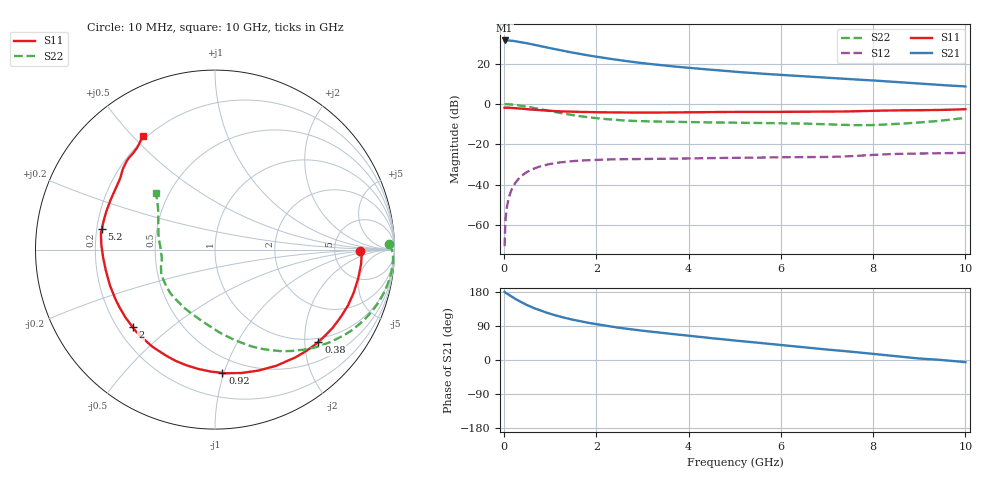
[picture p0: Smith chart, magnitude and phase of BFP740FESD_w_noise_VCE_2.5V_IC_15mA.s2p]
! Infineon Technologies  Discrete & RF Semiconductors
! BFP740FESD
! VCE =  2.5 V,  IC =  15 mA
! Common Emitter S-Parameters:  Jan 2016
# GHz  S  MA  R  50
!  f  S11  S21  S12  S22
! GHz  MAG  ANG  MAG  ANG  MAG  ANG  MAG  ANG
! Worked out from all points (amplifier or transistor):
!   233 points, 10 MHz to 10 GHz, reference 50 ohm
!   highest |S21| = 31.6 dB at 10 MHz (marker M1)
!   |S21| within 3 dB of that: start of sweep to 828.2 MHz
!   unconditionally stable (mu >= 1): 6.015 GHz to end of sweep
!   at 200 MHz: K = 0.06, MSG = 36.0 dB, |S12| = -40.6 dB
!   at 1.74 GHz: K = 0.38, MSG = 26.2 dB, |S12| = -27.9 dB
!   at 10 GHz: K = 1.23, MAG = 13.6 dB, |S12| = -24.2 dB
!   lowest NFmin = 0.70 dB at 450 MHz
!   S11 on the Smith chart (normalised r, x): 10 MHz: 9.43, -0.38; 380 MHz: 0.91, -2.32; 920 MHz: 0.38, -0.99; 2 GHz: 0.26, -0.37; 5.2 GHz: 0.22, +0.09; 10 GHz: 0.19, +0.53
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0.01  0.8086 -0.5  37.88 179.8  0.0003 175.0  0.9726 1.9
0.02  0.8173 -2.3  37.81 178.2  0.0009 81.6  0.9913 -1.1
0.1  0.8138 -11.4  37.72 172.4  0.0047 83.8  0.9911 -7.2
0.15  0.8092 -17.3  37.38 168.3  0.007 81.0  0.9826 -11.0
0.26  0.7929 -29.3  36 159.9  0.0118 74.9  0.9533 -18.7
0.38  0.7717 -41.7  34.21 152.0  0.0166 68.6  0.9107 -26.4
0.5  0.7492 -53.2  32.18 144.7  0.0209 63.2  0.8635 -33.5
0.6  0.732 -62.1  30.49 139.2  0.0239 58.9  0.8221 -38.9
0.74  0.7091 -73.4  28.18 132.6  0.0275 53.7  0.7662 -45.8
0.92  0.688 -86.6  25.51 125.0  0.0314 47.8  0.6991 -53.9
1.1  0.671 -98.2  23.11 118.2  0.0344 42.9  0.6385 -61.3
1.28  0.6584 -108.3  21.01 112.3  0.0367 38.7  0.5855 -68.1
1.4  0.6511 -114.4  19.72 108.7  0.0378 36.4  0.5536 -72.2
1.68  0.6389 -126.2  17.25 101.5  0.0399 31.8  0.4957 -80.8
2  0.6297 -136.8  14.95 94.5  0.0415 28.1  0.4482 -89.4
2.6  0.62 -153.1  11.87 83.3  0.0431 23.1  0.3937 -104.0
3.4  0.6182 -167.7  9.228 71.9  0.044 20.1  0.3681 -117.0
5.1  0.6414 170.7  6.232 50.2  0.0466 18.2  0.3458 -137.1
5.2  0.6409 169.7  6.111 49.2  0.0468 18.2  0.3446 -138.2
6.8  0.647 150.7  4.646 30.1  0.0488 18.5  0.3208 -159.5
8.4  0.6963 135.0  3.606 11.1  0.0576 19.9  0.3182 169.4
10  0.7482 122.6  2.743 -5.7  0.0616 14.6  0.4554 136.1
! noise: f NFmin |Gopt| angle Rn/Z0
0.45  0.7  0.1  -3  0.09
2.4  0.74  0.04  45  0.1
5.5  0.9  0.24  150  0.08
10  1.43  0.37  -126  0.15
